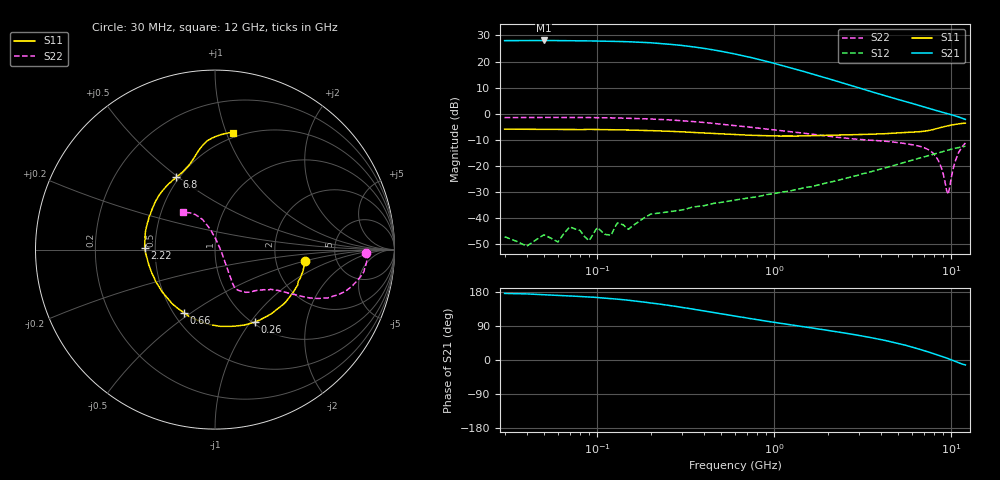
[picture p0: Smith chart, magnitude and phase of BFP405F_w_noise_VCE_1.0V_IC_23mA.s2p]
! Infineon Technologies  Discrete & RF Semiconductors
! BFP405F
! VCE =  1.0 V,  IC =  23 mA
! Common Emitter S-Parameters:  Nov 2015
# GHz  S  MA  R  50
!  f  S11  S21  S12  S22
! GHz  MAG  ANG  MAG  ANG  MAG  ANG  MAG  ANG
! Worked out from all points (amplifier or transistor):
!   239 points, 30 MHz to 12 GHz, reference 50 ohm
!   highest |S21| = 28.1 dB at 50 MHz (marker M1)
!   |S21| within 3 dB of that: start of sweep to 398.5 MHz
!   unconditionally stable (mu >= 1): 33.53 MHz to 46.72 MHz; 52.71 MHz to 64.58 MHz; 748.8 MHz to end of sweep (the widest 3 of 4)
!   at 300 MHz: K = 0.63, MSG = 31.5 dB, |S12| = -36.9 dB
!   at 1.88 GHz: K = 1.57, MAG = 16.0 dB, |S12| = -26.9 dB
!   at 12 GHz: K = 1.65, MAG = 0.4 dB, |S12| = -12.4 dB
!   lowest NFmin = 2.38 dB at 450 MHz
!   S11 on the Smith chart (normalised r, x): 30 MHz: 2.95, -0.52; 260 MHz: 1.02, -1.05; 660 MHz: 0.56, -0.47; 2.22 GHz: 0.44, +0.01; 6.8 GHz: 0.48, +0.49; 12 GHz: 0.46, +1.06
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0.03  0.5069 -7.4  25.2 175.7  0.0044 106.7  0.844 -1.2
0.04  0.5047 -10.4  25.26 174.4  0.0029 99.6  0.8481 -2.3
0.05  0.5047 -14.1  25.38 172.3  0.0048 81.3  0.8524 -3.3
0.085  0.4988 -22.1  24.92 166.9  0.0044 72.1  0.8454 -6.2
0.145  0.4899 -36.7  24.07 158.5  0.0067 68.7  0.8215 -11.0
0.19  0.4767 -46.9  23.13 152.0  0.0107 72.4  0.7979 -13.9
0.24  0.4652 -57.4  21.85 145.8  0.0129 71.6  0.772 -16.8
0.26  0.4607 -61.3  21.34 143.4  0.0133 71.0  0.7604 -17.9
0.3  0.4512 -68.7  20.39 138.8  0.0143 68.8  0.735 -19.8
0.4  0.429 -85.7  17.94 129.4  0.0173 63.7  0.6815 -23.3
0.6  0.4001 -110.7  13.95 115.8  0.0222 58.1  0.5932 -27.0
0.66  0.3924 -116.2  13.05 112.9  0.0234 58.3  0.5739 -27.6
0.8  0.3845 -128.4  11.17 106.3  0.0256 57.8  0.5329 -28.7
1  0.3769 -141.3  9.225 99.3  0.0296 58.5  0.4907 -30.2
1.3  0.3734 -155.8  7.241 91.2  0.0347 58.7  0.4439 -31.7
1.64  0.3785 -167.1  5.787 84.4  0.0405 60.6  0.4059 -33.7
2.22  0.3907 178.9  4.266 74.9  0.0518 61.0  0.3575 -38.7
4.5  0.4196 144.9  2.084 48.9  0.0974 55.5  0.2926 -54.4
6.8  0.4572 118.1  1.392 26.6  0.1446 44.9  0.2323 -62.9
8.4  0.5272 102.5  1.129 13.0  0.178 36.5  0.1308 -57.6
9.6  0.5893 96.3  0.993 3.6  0.2016 29.7  0.0285 32.7
12  0.6591 81.3  0.78 -13.1  0.2394 16.6  0.2748 130.3
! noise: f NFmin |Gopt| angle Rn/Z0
0.45  2.38  0.02  -151  0.44
0.9  2.41  0.04  -143  0.29
1.5  2.48  0.07  -134  0.34
1.9  2.55  0.09  -131  0.43
2.4  2.73  0.1  -127  0.19
3  2.85  0.11  -124  0.2
3.5  2.94  0.12  -121  0.31
4.5  3.22  0.17  -107  0.53
5.5  3.59  0.31  -88  0.51
